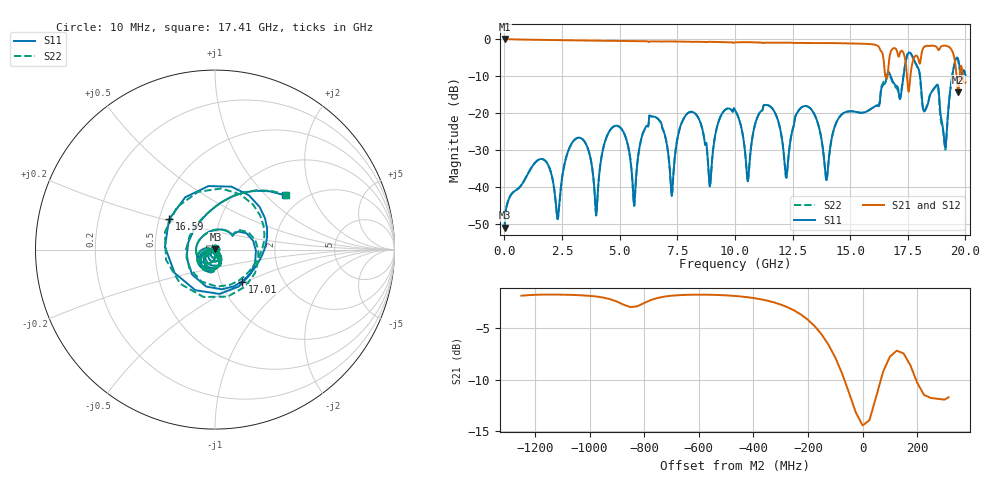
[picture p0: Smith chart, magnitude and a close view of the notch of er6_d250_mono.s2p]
! Stitch-rule transferability - stripline, 2 mm stitch pitch, cut at x=20 mm
! Case: er6_d250_mono
! Sweep: 10 MHz - 20 GHz, 25 MHz step, 4 cores
# GHz S MA R 50.000000
! Terminal data exported
! Port[1] = U1.PAD1.SIG
! Port[2] = U2.PAD1.SIG
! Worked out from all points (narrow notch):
!   801 points, 10 MHz to 20 GHz, reference 50 ohm
!   highest |S21| = -0.02 dB at 10 MHz (marker M1); lowest = -14.4 dB at 19.68 GHz (marker M2)
!   notch at M2: 13.6 dB deep, 210 MHz wide at half that depth
!   lowest |S11| = -50.9 dB at 10 MHz (marker M3), VSWR 1.01, Z = 50.3 + j0.112 ohm
!   |S11| at or under -10 dB: start of sweep to 16.59 GHz; 16.76 GHz to 17.32 GHz (560.5 MHz wide, 3.29 % of centre); 18.03 GHz to 19.43 GHz (1.395 GHz wide, 7.45 % of centre)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
!   |S22| runs from -50.9 to -3.6 dB; largest |S21 - S12| = 0
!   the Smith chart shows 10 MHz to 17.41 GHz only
!   S11 on the Smith chart (normalised r, x): 10 MHz: 1.01, +0.00; 16.59 GHz: 0.56, +0.21; 17.01 GHz: 1.25, -0.47; 17.41 GHz: 1.63, +1.30
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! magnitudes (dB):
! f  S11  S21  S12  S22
! 10 MHz  -50.9  0.0  0.0  -50.9
! 3.36 GHz  -26.9  -0.4  -0.4  -26.9
! 3.985 GHz  -47.6  -0.4  -0.4  -47.6
! 4.635 GHz  -24.2  -0.5  -0.5  -24.2
! 5.635 GHz  -45.0  -0.6  -0.6  -45.0
! 6.685 GHz  -21.7  -0.7  -0.7  -21.7
! 7.26 GHz  -42.4  -0.7  -0.7  -42.4
! 7.91 GHz  -20.3  -0.7  -0.7  -20.3
! 8.91 GHz  -39.8  -0.8  -0.8  -39.8
! 10.01 GHz  -19.2  -0.9  -0.9  -19.2
! 10.56 GHz  -38.4  -0.9  -0.9  -38.4
! 11.31 GHz  -17.8  -1.0  -1.0  -17.8
! 12.23 GHz  -37.4  -1.0  -1.0  -37.5
! 13.36 GHz  -19.4  -1.1  -1.1  -19.4
! 13.98 GHz  -38.0  -1.1  -1.1  -38.0
! 16.59 GHz  -10.3  -10.6  -10.6  -10.6
! 16.68 GHz  -8.9  -6.0  -6.0  -9.4
! 17.01 GHz  -12.7  -2.9  -2.9  -13.2
! 17.41 GHz  -6.1  -6.5  -6.5  -6.0
! 19.11 GHz  -28.8  -1.8  -1.8  -29.4
! 19.68 GHz  -5.4  -14.4  -14.4  -5.8
! 20 GHz  -9.7  -11.7  -11.7  -9.8
